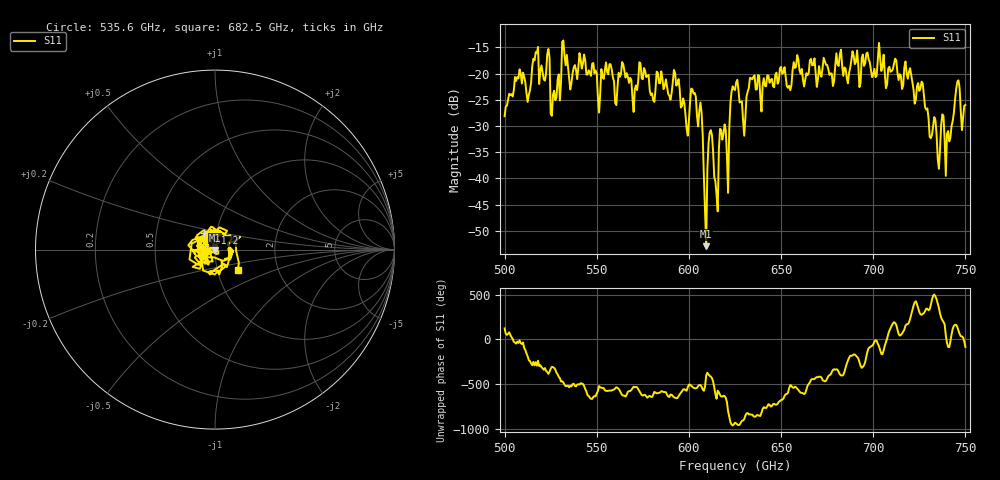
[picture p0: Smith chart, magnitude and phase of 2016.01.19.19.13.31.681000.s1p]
!Created with skrf (http://scikit-rf.org).
# GHz S RI R 50.0
!freq ReS11 ImS11
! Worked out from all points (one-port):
!   401 points, 500 GHz to 750 GHz, reference 50 ohm
!   lowest |S11| = -53.0 dB at 609.4 GHz (marker M1), VSWR 1.00, Z = 50.2 - j0.15 ohm
!   |S11| at or under -10 dB: start of sweep to end of sweep
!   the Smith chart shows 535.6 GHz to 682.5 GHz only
!   S11 on the Smith chart (normalised r, x): 535.6 GHz: 0.88, -0.05; 661.2 GHz: 0.87, +0.16; 682.5 GHz: 1.26, -0.29
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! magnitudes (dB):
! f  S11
! 500 GHz  -28.1
! 506.9 GHz  -20.6
! 513.1 GHz  -24.1
! 516.9 GHz  -15.9
! 523.1 GHz  -16.3
! 526.2 GHz  -24.0
! 531.2 GHz  -13.9
! 535.6 GHz  -23.0
! 562.5 GHz  -20.6
! 593.8 GHz  -22.0
! 598.8 GHz  -30.5
! 602.5 GHz  -23.8
! 606.2 GHz  -25.5
! 609.4 GHz  -53.0
! 611.2 GHz  -31.3
! 615 GHz  -43.2
! 625 GHz  -23.1
! 629.4 GHz  -28.9
! 634.4 GHz  -21.1
! 656.2 GHz  -19.3
! 661.2 GHz  -19.1
! 682.5 GHz  -15.4
! 687.5 GHz  -18.9
! 718.8 GHz  -21.0
! 735.6 GHz  -38.2
! 740.6 GHz  -31.0
! 745.6 GHz  -21.5
! 750 GHz  -26.0
